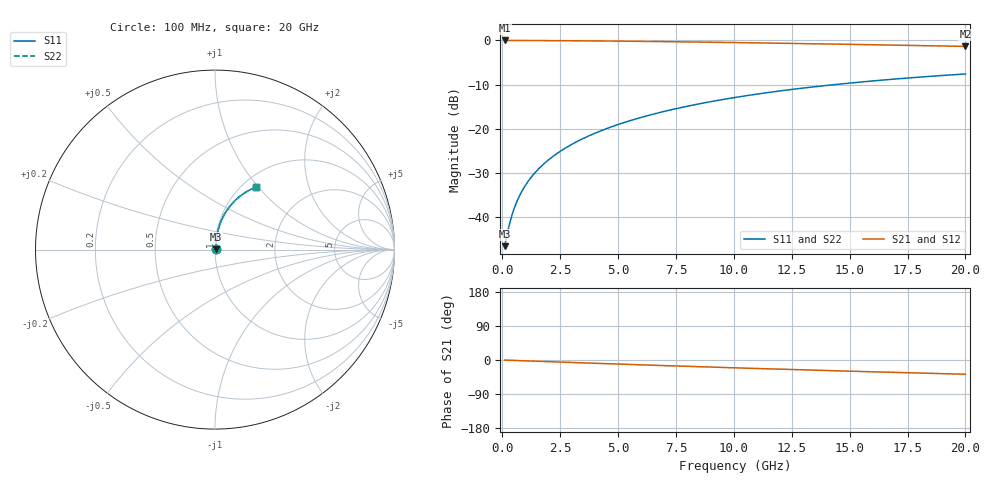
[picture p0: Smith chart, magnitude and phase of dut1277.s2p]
! Touchstone file exported from HFSS 2024.1.0
!  File:  C:/UserFiles/LocalFiles/RDL_TSV_Batchsim/temp_RDL_top_1277_1780242400.aedt
!  Generated:  11:48:58 PM May 31, 2026
!  Design:  RDL_top
!  Project:  temp_RDL_top_1277_1780242400
!  Setup:  Setup1
!  Solution:  Sweep
! Variables:
!  dtsv = 10.80580581um
!  hbump = 3um
!  htsv = 88.11um
!  ldown = 100um
!  lrdl = 446.52um
!  p = 40
!  p1 = 58.45um
!  rhole = 1um
!  t = 450um
!  tdown = 3.915915916um
!  trdl = 2.3um
!  wdown = 15.38538539um
!  wrdl = 17.79um
# GHz S MA R 50.000000
! Terminal data exported
! Port[1] = Box2_T1
! Port[2] = Box2_T2
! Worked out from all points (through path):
!   200 points, 100 MHz to 20 GHz, reference 50 ohm
!   highest |S21| = -0.04 dB at 100 MHz (marker M1); lowest = -1.4 dB at 20 GHz (marker M2)
!   group delay of S21, straight-line fit = 5.21 ps
!   lowest |S11| = -46.5 dB at 100 MHz (marker M3), VSWR 1.01, Z = 50.4 + j0.236 ohm
!   |S11| at or under -10 dB: start of sweep to 14.36 GHz
!   |S22| runs from -46.5 to -7.6 dB; largest |S21 - S12| = 2.5e-15
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0.1  0.004728 29.7  0.9959 -0.2  0.9959 -0.2  0.004728 29.7
! Gamma 0 0 0 0
! Port Impedance 50 0 50 0
0.3  0.008179 58.4  0.9957 -0.7  0.9957 -0.7  0.008179 58.4
0.4  0.01024 64.4  0.9955 -0.9  0.9955 -0.9  0.01024 64.4
0.5  0.01235 68.3  0.9954 -1.1  0.9954 -1.1  0.01235 68.3
0.6  0.01448 71.0  0.9952 -1.4  0.9952 -1.4  0.01448 71.0
0.8  0.01876 74.5  0.9948 -1.8  0.9948 -1.8  0.01876 74.5
1.1  0.02519 77.5  0.9943 -2.4  0.9943 -2.4  0.02519 77.5
1.5  0.03383 79.7  0.9934 -3.3  0.9934 -3.3  0.03383 79.7
1.8  0.04035 80.6  0.9927 -4.0  0.9927 -4.0  0.04035 80.6
2.1  0.04691 81.2  0.9919 -4.6  0.9919 -4.6  0.04691 81.2
2.7  0.06014 81.8  0.9899 -5.9  0.9899 -5.9  0.06014 81.8
3.5  0.07797 81.8  0.9868 -7.6  0.9868 -7.6  0.07797 81.8
4.2  0.09373 81.4  0.9835 -9.1  0.9835 -9.1  0.09373 81.4
5  0.1119 80.7  0.9792 -10.8  0.9792 -10.8  0.1119 80.7
5.9  0.1324 79.7  0.9737 -12.6  0.9737 -12.6  0.1324 79.7
6.8  0.153 78.5  0.9678 -14.4  0.9678 -14.4  0.153 78.5
8.4  0.1893 76.1  0.9562 -17.5  0.9562 -17.5  0.1893 76.1
10.1  0.2272 73.3  0.9427 -20.8  0.9427 -20.8  0.2272 73.2
11.7  0.2618 70.5  0.9292 -23.7  0.9292 -23.7  0.2618 70.5
13.4  0.2971 67.6  0.9143 -26.7  0.9143 -26.7  0.297 67.6
16.7  0.3605 62.0  0.8843 -32.3  0.8843 -32.3  0.3605 62.0
20  0.4168 56.7  0.8536 -37.6  0.8536 -37.6  0.4167 56.7
